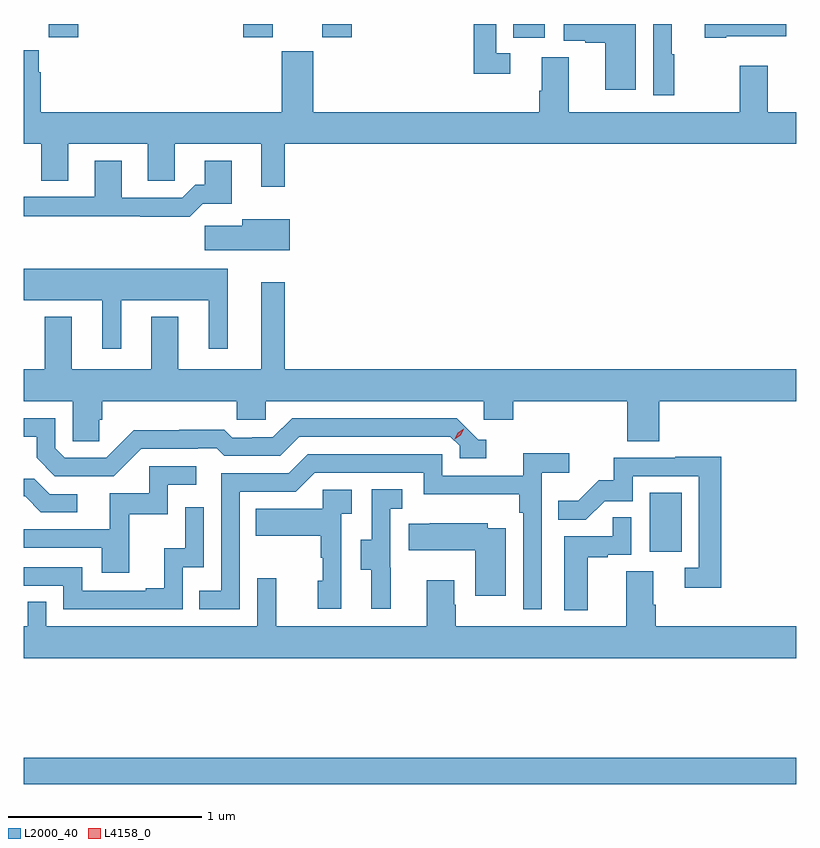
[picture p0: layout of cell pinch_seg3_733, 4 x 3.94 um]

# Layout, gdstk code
import gdstk
lib = gdstk.Library(unit=1e-6, precision=1e-09)
def R(c, l, rs):  # rectangles x0, y0, x1, y1
    for r in rs: c.add(gdstk.rectangle(r[:2], r[2:], *l))
def P(c, l, *ps):  # polygons
    for p in ps: c.add(gdstk.Polygon(p, *l))
L2000_40 = (2000, 40)
L4158_0 = (4158, 0)

pinch_seg3_733 = lib.new_cell('pinch_seg3_733')
R(pinch_seg3_733, L2000_40, [(854.981,741.556,858.981,741.692), (858.224,742.758,858.388,743.065), (857.516,745.422,857.68,745.493), (855.109,745.425,855.263,745.493), (856.118,745.425,856.27,745.493), (856.526,745.425,856.679,745.493)])
P(pinch_seg3_733, L2000_40, [(858.619,745.43),(858.929,745.43),(858.929,745.493),(858.507,745.493),(858.507,745.423),(858.619,745.423)],
  [(858.349,745.337),(858.337,745.337),(858.337,745.493),(858.24,745.493),(858.24,745.125),(858.349,745.125)],
  [(858.151,745.493),(857.778,745.493),(857.778,745.407),(857.889,745.407),(857.889,745.395),(857.993,745.395),(857.993,745.152),(858.151,745.152)],
  [(857.5,745.341),(857.427,745.341),(857.427,745.493),(857.311,745.493),(857.311,745.236),(857.5,745.236)],
  [(856.333,744.872),(858.981,744.872),(858.981,745.036),(858.835,745.036),(858.835,745.276),(858.688,745.276),(858.688,745.036),(857.803,745.036),(857.803,745.322),(857.663,745.322),(857.663,745.148),(857.651,745.148),(857.651,745.036),(856.48,745.036),(856.48,745.353),(856.316,745.353),(856.316,745.036),(855.068,745.036),(855.068,745.244),(855.058,745.244),(855.058,745.357),(854.981,745.357),(854.981,744.872),(855.071,744.872),(855.071,744.682),(855.211,744.682),(855.211,744.872),(855.623,744.872),(855.623,744.682),(855.762,744.682),(855.762,744.872),(856.211,744.872),(856.211,744.651),(856.333,744.651)],
  [(855.908,744.563),(856.057,744.563),(856.057,744.784),(855.917,744.784),(855.917,744.661),(855.868,744.661),(855.801,744.594),(855.487,744.594),(855.487,744.784),(855.347,744.784),(855.347,744.597),(854.981,744.597),(854.981,744.496),(855.583,744.496),(855.583,744.494),(855.839,744.494)],
  [(856.357,744.481),(856.112,744.481),(856.112,744.449),(855.918,744.449),(855.918,744.32),(856.357,744.32)],
  [(855.484,744.062),(855.938,744.062),(855.938,743.811),(856.036,743.811),(856.036,744.226),(854.981,744.226),(854.981,744.062),(855.386,744.062),(855.386,743.811),(855.484,743.811)],
  [(855.371,743.442),(855.386,743.442),(855.386,743.54),(856.083,743.54),(856.083,743.442),(856.233,743.442),(856.233,743.54),(857.364,743.54),(857.364,743.442),(857.516,743.442),(857.516,743.54),(858.107,743.54),(858.107,743.332),(858.272,743.332),(858.272,743.54),(858.981,743.54),(858.981,743.704),(856.333,743.704),(856.333,744.154),(856.211,744.154),(856.211,743.704),(855.781,743.704),(855.781,743.977),(855.641,743.977),(855.641,743.704),(855.229,743.704),(855.229,743.977),(855.089,743.977),(855.089,743.704),(854.981,743.704),(854.981,743.54),(855.234,743.54),(855.234,743.332),(855.371,743.332)],
  [(855.588,743.292),(855.881,743.292),(855.881,743.295),(855.98,743.295),(856.019,743.256),(856.308,743.256),(856.407,743.355),(857.19,743.355),(857.238,743.307),(857.238,743.244),(857.377,743.244),(857.377,743.34),(857.334,743.34),(857.223,743.451),(856.37,743.451),(856.271,743.352),(856.164,743.352),(856.164,743.349),(856.061,743.349),(856.019,743.392),(855.786,743.392),(855.786,743.389),(855.55,743.389),(855.408,743.247),(855.192,743.247),(855.144,743.295),(855.144,743.451),(854.981,743.451),(854.981,743.355),(855.047,743.355),(855.047,743.245),(855.141,743.151),(855.447,743.151)],
  [(856.098,743.07),(856.389,743.07),(856.488,743.169),(857.052,743.169),(857.052,743.057),(857.548,743.057),(857.548,742.961),(857.568,742.961),(857.568,742.461),(857.664,742.461),(857.664,743.168),(857.806,743.168),(857.806,743.27),(857.567,743.27),(857.567,743.154),(857.148,743.154),(857.148,743.265),(856.451,743.265),(856.352,743.166),(856.002,743.166),(856.002,742.557),(855.889,742.557),(855.889,742.461),(856.098,742.461)],
  [(858.593,743.252),(858.355,743.252),(858.355,743.247),(858.037,743.247),(858.037,743.13),(857.96,743.13),(857.853,743.023),(857.749,743.023),(857.749,742.924),(857.892,742.924),(857.99,743.022),(858.135,743.022),(858.135,743.151),(858.477,743.151),(858.477,742.677),(858.405,742.677),(858.405,742.572),(858.593,742.572)],
  [(855.527,742.953),(855.726,742.953),(855.726,743.106),(855.874,743.106),(855.874,743.202),(855.63,743.202),(855.63,743.061),(855.425,743.061),(855.425,742.875),(854.981,742.875),(854.981,742.779),(855.383,742.779),(855.383,742.65),(855.527,742.65)],
  [(855.256,743.058),(855.114,743.058),(855.034,743.138),(854.981,743.138),(854.981,743.046),(854.987,743.046),(855.068,742.965),(855.256,742.965)],
  [(856.88,742.677),(856.878,742.677),(856.878,742.981),(856.942,742.981),(856.942,743.084),(856.782,743.084),(856.782,742.821),(856.727,742.821),(856.727,742.666),(856.781,742.666),(856.781,742.464),(856.88,742.464)],
  [(856.626,742.955),(856.678,742.955),(856.678,743.079),(856.53,743.079),(856.53,742.981),(856.183,742.981),(856.183,742.841),(856.518,742.841),(856.518,742.727),(856.528,742.727),(856.528,742.608),(856.502,742.608),(856.502,742.464),(856.626,742.464)],
  [(855.804,742.68),(855.912,742.68),(855.912,742.99),(855.816,742.99),(855.816,742.778),(855.707,742.778),(855.707,742.57),(855.611,742.57),(855.611,742.557),(855.282,742.557),(855.282,742.68),(854.981,742.68),(854.981,742.584),(855.186,742.584),(855.186,742.461),(855.804,742.461)],
  [(857.902,742.731),(858.005,742.731),(858.005,742.743),(858.126,742.743),(858.126,742.937),(858.031,742.937),(858.031,742.839),(857.78,742.839),(857.78,742.457),(857.902,742.457)],
  [(857.476,742.882),(857.385,742.882),(857.385,742.906),(857.083,742.906),(857.083,742.903),(856.975,742.903),(856.975,742.766),(857.318,742.766),(857.318,742.53),(857.476,742.53)],
  [(857.209,742.484),(857.209,742.612),(857.069,742.612),(857.069,742.372),(856.289,742.372),(856.289,742.621),(856.191,742.621),(856.191,742.372),(855.096,742.372),(855.096,742.499),(855,742.499),(855,742.372),(854.981,742.372),(854.981,742.208),(858.981,742.208),(858.981,742.372),(858.254,742.372),(858.254,742.484),(858.241,742.484),(858.241,742.658),(858.101,742.658),(858.101,742.372),(857.217,742.372),(857.217,742.484)])
P(pinch_seg3_733, L4158_0, [(857.212,743.343),(857.212,743.343),(857.228,743.375),(857.259,743.395),(857.259,743.395),(857.259,743.395),(857.243,743.362),(857.212,743.343)])

lib.write_gds('pinch_seg3_733.gds')
